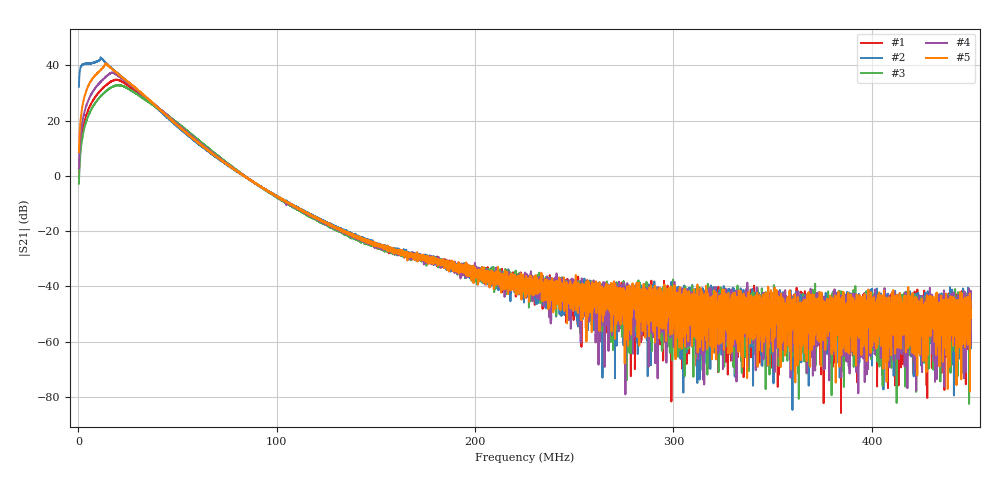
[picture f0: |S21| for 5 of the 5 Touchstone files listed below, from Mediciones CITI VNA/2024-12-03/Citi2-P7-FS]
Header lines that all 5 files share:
# Hz S DB R 50
! CMT, M5065, 19127446, 24.2.4/2
! Data: Format (Calibration Info)
! Freq	S11:dB/Ang(F2)	S21:dB/Ang(F2)	S12:dB/Ang(F2)	S22:dB/Ang(F2)
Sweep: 300 kHz to 450 MHz
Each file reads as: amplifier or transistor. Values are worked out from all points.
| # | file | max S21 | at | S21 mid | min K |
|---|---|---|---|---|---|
| 1 | gain15.s2p | 34.8 dB | 19.49 MHz | -38.6 dB at 225.2 MHz | 1.12 |
| 2 | gain63.s2p | 42.9 dB | 11.24 MHz | -41.7 dB at 225.2 MHz | 0.89 |
| 3 | ganancia_0.s2p | 32.9 dB | 19.99 MHz | -38.3 dB at 225.2 MHz | 1.38 |
| 4 | ganancia_31.s2p | 37.4 dB | 17.19 MHz | -35.0 dB at 225.2 MHz | 0.87 |
| 5 | ganancia_47.s2p | 40.6 dB | 13.79 MHz | -43.2 dB at 225.2 MHz | 0.89 |
